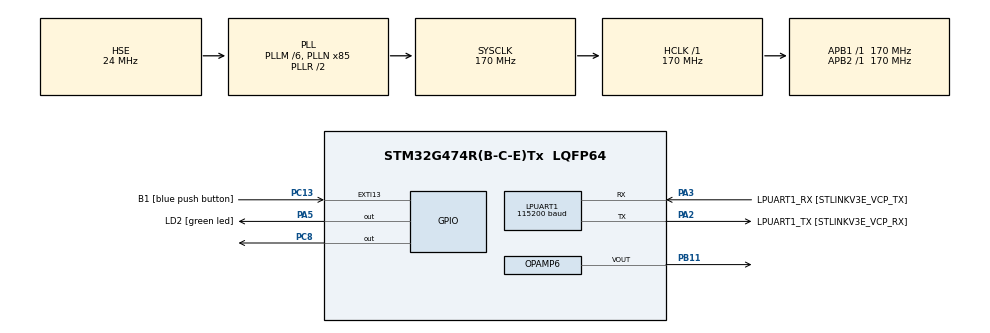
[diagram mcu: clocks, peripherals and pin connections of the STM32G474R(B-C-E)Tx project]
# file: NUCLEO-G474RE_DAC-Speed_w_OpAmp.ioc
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DAC3.DAC_HighFrequency_OUT1-DAC_OUT1_Int=DAC_HIGH_FREQUENCY_INTERFACE_MODE_ABOVE_160MHZ
DAC3.DAC_Trigger_OUT1-DAC_OUT1_Int=DAC_TRIGGER_SOFTWARE
LPUART1.BaudRate=115200
LPUART1.WordLength=UART_WORDLENGTH_8B
Mcu.Family=STM32G4
Mcu.Name=STM32G474R(B-C-E)Tx
Mcu.Package=LQFP64
NVIC.EXTI15_10_IRQn=true\:0\:0\:false\:false\:true\:true\:true
NVIC.PriorityGroup=NVIC_PRIORITYGROUP_4
OPAMP6.PowerMode=OPAMP_POWERMODE_HIGHSPEED
PA13.GPIO_Label=T_SWDIO
PA13.Mode=Trace_Asynchronous_SW
PA13.Signal=SYS_JTMS-SWDIO
PA14.GPIO_Label=T_SWCLK
PA14.Mode=Trace_Asynchronous_SW
PA14.Signal=SYS_JTCK-SWCLK
PA2.GPIO_Label=LPUART1_TX [STLINKV3E_VCP_RX]
PA2.Mode=Asynchronous
PA2.Signal=LPUART1_TX
PA3.GPIO_Label=LPUART1_RX [STLINKV3E_VCP_TX]
PA3.Mode=Asynchronous
PA3.Signal=LPUART1_RX
PA5.GPIO_Label=LD2 [green led]
PA5.Signal=GPIO_Output
PB11.Mode=Follower-DAC_OUT2-INP
PB11.Signal=OPAMP6_VOUT
PB3.GPIO_Label=T_SWO
PB3.Mode=Trace_Asynchronous_SW
PB3.Signal=SYS_JTDO-SWO
PC13.GPIO_Label=B1 [blue push button]
PC13.Signal=GPXTI13
PC14-OSC32_IN.Mode=LSE-External-Oscillator
PC14-OSC32_IN.Signal=RCC_OSC32_IN
PC15-OSC32_OUT.Mode=LSE-External-Oscillator
PC15-OSC32_OUT.Signal=RCC_OSC32_OUT
PC8.Signal=GPIO_Output
PF0-OSC_IN.Mode=HSE-External-Oscillator
PF0-OSC_IN.Signal=RCC_OSC_IN
PF1-OSC_OUT.Mode=HSE-External-Oscillator
PF1-OSC_OUT.Signal=RCC_OSC_OUT
ProjectManager.HeapSize=0x200
ProjectManager.StackSize=0x400
ProjectManager.TargetToolchain=STM32CubeIDE
RCC.ADC12Freq_Value=170000000
RCC.ADC345Freq_Value=170000000
RCC.AHBFreq_Value=170000000
RCC.APB1Freq_Value=170000000
RCC.APB1TimFreq_Value=170000000
RCC.APB2Freq_Value=170000000
RCC.APB2TimFreq_Value=170000000
RCC.CortexFreq_Value=170000000
RCC.EXTERNAL_CLOCK_VALUE=12288000
RCC.HCLKFreq_Value=170000000
RCC.HSE_VALUE=24000000
RCC.HSI48_VALUE=48000000
RCC.HSI_VALUE=16000000
RCC.PLLM=RCC_PLLM_DIV6
RCC.PLLN=85
RCC.PLLSourceVirtual=RCC_PLLSOURCE_HSE
RCC.RTCClockSelection=RCC_RTCCLKSOURCE_LSE
RCC.SYSCLKFreq_VALUE=170000000
RCC.SYSCLKSource=RCC_SYSCLKSOURCE_PLLCLK
RCC.USBFreq_Value=170000000
RCC.VCOOutputFreq_Value=340000000
VP_DAC3_VS_DACI1.Mode=DAC_OUT1_Int
VP_SYS_VS_DBSignals.Mode=DisableDeadBatterySignals
board=NUCLEO-G474RE

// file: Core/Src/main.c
/* USER CODE BEGIN Header */
/**
  ******************************************************************************
  * @file           : main.c
  * @brief          : Main program body
  ******************************************************************************
  * @attention
  *
  * <h2><center>&copy; Copyright (c) 2021 STMicroelectronics.
  * All rights reserved.</center></h2>
  *
  * This software component is licensed by ST under BSD 3-Clause license,
  * the "License"; You may not use this file except in compliance with the
  * License. You may obtain a copy of the License at:
  *                        opensource.org/licenses/BSD-3-Clause
  *
  ******************************************************************************
  */
/* USER CODE END Header */
#include "main.h"

UART_HandleTypeDef hlpuart1;

void SystemClock_Config(void);
static void MX_GPIO_Init(void);
static void MX_LPUART1_UART_Init(void);
static void MX_DAC3_Init(void);
static void MX_OPAMP6_Init(void);
/* USER CODE BEGIN PFP */

void LL_Activate_OPAMP6(void);
void LL_Activate_DAC3(void);

/* USER CODE END PFP */

int main(void)
{

  /* MCU Configuration--------------------------------------------------------*/

  /* Reset of all peripherals, Initializes the Flash interface and the Systick. */
  HAL_Init();

  /* Configure the system clock */
  SystemClock_Config();

  /* Initialize all configured peripherals */
  MX_GPIO_Init();
  MX_LPUART1_UART_Init();
  MX_DAC3_Init();
  MX_OPAMP6_Init();
  /* USER CODE BEGIN 2 */

  LL_Activate_OPAMP6();
  LL_Activate_DAC3();

  LL_DAC_ConvertData12RightAligned(DAC3, LL_DAC_CHANNEL_1, 0);
  LL_DAC_TrigSWConversion(DAC3, LL_DAC_CHANNEL_1);

  HAL_Delay(1);

  HAL_GPIO_WritePin(GPIOC, GPIO_PIN_8, SET);

  LL_DAC_ConvertData12RightAligned(DAC3, LL_DAC_CHANNEL_1, 0xfff);
  LL_DAC_TrigSWConversion(DAC3, LL_DAC_CHANNEL_1);

  /* USER CODE END 2 */

  /* Infinite loop */
  /* USER CODE BEGIN WHILE */
  while (1)
  {
	  HAL_GPIO_TogglePin(GPIOA, GPIO_PIN_5);
	  HAL_Delay(200);

    /* USER CODE END WHILE */

  }
}

void SystemClock_Config(void)
{
  RCC_OscInitTypeDef RCC_OscInitStruct = {0};
  RCC_ClkInitTypeDef RCC_ClkInitStruct = {0};
  RCC_PeriphCLKInitTypeDef PeriphClkInit = {0};

  /** Configure the main internal regulator output voltage
  */
  HAL_PWREx_ControlVoltageScaling(PWR_REGULATOR_VOLTAGE_SCALE1_BOOST);
  /** Initializes the RCC Oscillators according to the specified parameters
  * in the RCC_OscInitTypeDef structure.
  */
  RCC_OscInitStruct.OscillatorType = RCC_OSCILLATORTYPE_HSE;
  RCC_OscInitStruct.HSEState = RCC_HSE_ON;
  RCC_OscInitStruct.PLL.PLLState = RCC_PLL_ON;
  RCC_OscInitStruct.PLL.PLLSource = RCC_PLLSOURCE_HSE;
  RCC_OscInitStruct.PLL.PLLM = RCC_PLLM_DIV6;
  RCC_OscInitStruct.PLL.PLLN = 85;
  RCC_OscInitStruct.PLL.PLLP = RCC_PLLP_DIV2;
  RCC_OscInitStruct.PLL.PLLQ = RCC_PLLQ_DIV2;
  RCC_OscInitStruct.PLL.PLLR = RCC_PLLR_DIV2;
  if (HAL_RCC_OscConfig(&RCC_OscInitStruct) != HAL_OK)
  {
    Error_Handler();
  }
  /** Initializes the CPU, AHB and APB buses clocks
  */
  RCC_ClkInitStruct.ClockType = RCC_CLOCKTYPE_HCLK|RCC_CLOCKTYPE_SYSCLK
                              |RCC_CLOCKTYPE_PCLK1|RCC_CLOCKTYPE_PCLK2;
  RCC_ClkInitStruct.SYSCLKSource = RCC_SYSCLKSOURCE_PLLCLK;
  RCC_ClkInitStruct.AHBCLKDivider = RCC_SYSCLK_DIV1;
  RCC_ClkInitStruct.APB1CLKDivider = RCC_HCLK_DIV1;
  RCC_ClkInitStruct.APB2CLKDivider = RCC_HCLK_DIV1;

  if (HAL_RCC_ClockConfig(&RCC_ClkInitStruct, FLASH_LATENCY_4) != HAL_OK)
  {
    Error_Handler();
  }
  /** Initializes the peripherals clocks
  */
  PeriphClkInit.PeriphClockSelection = RCC_PERIPHCLK_LPUART1;
  PeriphClkInit.Lpuart1ClockSelection = RCC_LPUART1CLKSOURCE_PCLK1;
  if (HAL_RCCEx_PeriphCLKConfig(&PeriphClkInit) != HAL_OK)
  {
    Error_Handler();
  }
}

static void MX_DAC3_Init(void)
{

  LL_DAC_InitTypeDef DAC_InitStruct = {0};

  /* Peripheral clock enable */
  LL_AHB2_GRP1_EnableClock(LL_AHB2_GRP1_PERIPH_DAC3);

  /** DAC channel OUT1 config
  */
  LL_DAC_SetHighFrequencyMode(DAC3, LL_DAC_HIGH_FREQ_MODE_ABOVE_160MHZ);
  LL_DAC_SetSignedFormat(DAC3, LL_DAC_CHANNEL_1, LL_DAC_SIGNED_FORMAT_DISABLE);
  DAC_InitStruct.TriggerSource = LL_DAC_TRIG_SOFTWARE;
  DAC_InitStruct.TriggerSource2 = LL_DAC_TRIG_SOFTWARE;
  DAC_InitStruct.WaveAutoGeneration = LL_DAC_WAVE_AUTO_GENERATION_NONE;
  DAC_InitStruct.OutputBuffer = LL_DAC_OUTPUT_BUFFER_DISABLE;
  DAC_InitStruct.OutputConnection = LL_DAC_OUTPUT_CONNECT_INTERNAL;
  DAC_InitStruct.OutputMode = LL_DAC_OUTPUT_MODE_NORMAL;
  LL_DAC_Init(DAC3, LL_DAC_CHANNEL_1, &DAC_InitStruct);
  LL_DAC_EnableTrigger(DAC3, LL_DAC_CHANNEL_1);
  LL_DAC_DisableDMADoubleDataMode(DAC3, LL_DAC_CHANNEL_1);

}

static void MX_LPUART1_UART_Init(void)
{

  hlpuart1.Instance = LPUART1;
  hlpuart1.Init.BaudRate = 115200;
  hlpuart1.Init.WordLength = UART_WORDLENGTH_8B;
  hlpuart1.Init.StopBits = UART_STOPBITS_1;
  hlpuart1.Init.Parity = UART_PARITY_NONE;
  hlpuart1.Init.Mode = UART_MODE_TX_RX;
  hlpuart1.Init.HwFlowCtl = UART_HWCONTROL_NONE;
  hlpuart1.Init.OneBitSampling = UART_ONE_BIT_SAMPLE_DISABLE;
  hlpuart1.Init.ClockPrescaler = UART_PRESCALER_DIV1;
  hlpuart1.AdvancedInit.AdvFeatureInit = UART_ADVFEATURE_NO_INIT;
  if (HAL_UART_Init(&hlpuart1) != HAL_OK)
  {
    Error_Handler();
  }
  if (HAL_UARTEx_SetTxFifoThreshold(&hlpuart1, UART_TXFIFO_THRESHOLD_1_8) != HAL_OK)
  {
    Error_Handler();
  }
  if (HAL_UARTEx_SetRxFifoThreshold(&hlpuart1, UART_RXFIFO_THRESHOLD_1_8) != HAL_OK)
  {
    Error_Handler();
  }
  if (HAL_UARTEx_DisableFifoMode(&hlpuart1) != HAL_OK)
  {
    Error_Handler();
  }

}

static void MX_OPAMP6_Init(void)
{

  LL_OPAMP_InitTypeDef OPAMP_InitStruct = {0};

  LL_GPIO_InitTypeDef GPIO_InitStruct = {0};

  LL_AHB2_GRP1_EnableClock(LL_AHB2_GRP1_PERIPH_GPIOB);
  /**OPAMP6 GPIO Configuration
  PB11   ------> OPAMP6_VOUT
  */
  GPIO_InitStruct.Pin = LL_GPIO_PIN_11;
  GPIO_InitStruct.Mode = LL_GPIO_MODE_ANALOG;
  GPIO_InitStruct.Pull = LL_GPIO_PULL_NO;
  LL_GPIO_Init(GPIOB, &GPIO_InitStruct);

  OPAMP_InitStruct.PowerMode = LL_OPAMP_POWERMODE_HIGHSPEED;
  OPAMP_InitStruct.FunctionalMode = LL_OPAMP_MODE_FOLLOWER;
  OPAMP_InitStruct.InputNonInverting = LL_OPAMP_INPUT_NONINVERT_DAC;
  LL_OPAMP_Init(OPAMP6, &OPAMP_InitStruct);
  LL_OPAMP_SetInputsMuxMode(OPAMP6, LL_OPAMP_INPUT_MUX_DISABLE);
  LL_OPAMP_SetInternalOutput(OPAMP6, LL_OPAMP_INTERNAL_OUPUT_DISABLED);
  LL_OPAMP_SetTrimmingMode(OPAMP6, LL_OPAMP_TRIMMING_FACTORY);

}

static void MX_GPIO_Init(void)
{
  GPIO_InitTypeDef GPIO_InitStruct = {0};

  /* GPIO Ports Clock Enable */
  __HAL_RCC_GPIOC_CLK_ENABLE();
  __HAL_RCC_GPIOF_CLK_ENABLE();
  __HAL_RCC_GPIOA_CLK_ENABLE();
  __HAL_RCC_GPIOB_CLK_ENABLE();

  /*Configure GPIO pin Output Level */
  HAL_GPIO_WritePin(LD2_GPIO_Port, LD2_Pin, GPIO_PIN_RESET);

  /*Configure GPIO pin Output Level */
  HAL_GPIO_WritePin(GPIOC, GPIO_PIN_8, GPIO_PIN_RESET);

  /*Configure GPIO pin : B1_Pin */
  GPIO_InitStruct.Pin = B1_Pin;
  GPIO_InitStruct.Mode = GPIO_MODE_IT_RISING;
  GPIO_InitStruct.Pull = GPIO_NOPULL;
  HAL_GPIO_Init(B1_GPIO_Port, &GPIO_InitStruct);

  /*Configure GPIO pin : LD2_Pin */
  GPIO_InitStruct.Pin = LD2_Pin;
  GPIO_InitStruct.Mode = GPIO_MODE_OUTPUT_PP;
  GPIO_InitStruct.Pull = GPIO_NOPULL;
  GPIO_InitStruct.Speed = GPIO_SPEED_FREQ_LOW;
  HAL_GPIO_Init(LD2_GPIO_Port, &GPIO_InitStruct);

  /*Configure GPIO pin : PC8 */
  GPIO_InitStruct.Pin = GPIO_PIN_8;
  GPIO_InitStruct.Mode = GPIO_MODE_OUTPUT_PP;
  GPIO_InitStruct.Pull = GPIO_NOPULL;
  GPIO_InitStruct.Speed = GPIO_SPEED_FREQ_LOW;
  HAL_GPIO_Init(GPIOC, &GPIO_InitStruct);

  /* EXTI interrupt init*/
  HAL_NVIC_SetPriority(EXTI15_10_IRQn, 0, 0);
  HAL_NVIC_EnableIRQ(EXTI15_10_IRQn);

}

/* USER CODE BEGIN 4 */

void LL_Activate_OPAMP6(void)
{
  __IO uint32_t wait_loop_index = 0;

  /* Enable OPAMP */
  LL_OPAMP_Enable(OPAMP6);

  /* Delay for OPAMP startup time.                                            */
  /* Compute number of CPU cycles to wait for, from delay in us.              */
  /* Note: Variable divided by 2 to compensate partially                      */
  /*       CPU processing cycles (depends on compilation optimization).       */
  /* Note: If system core clock frequency is below 200kHz, wait time          */
  /*       is only a few CPU processing cycles.                               */
  wait_loop_index = ((LL_OPAMP_DELAY_STARTUP_US * (SystemCoreClock / (100000 * 2))) / 10);
  while(wait_loop_index != 0)
  {
    wait_loop_index--;
  }

}

void LL_Activate_DAC3(void)
{
  __IO uint32_t wait_loop_index = 0;

  /* Enable DAC channel */
  LL_DAC_Enable(DAC3, LL_DAC_CHANNEL_1);

  /* Delay for DAC channel voltage settling time from DAC channel startup.    */
  /* Compute number of CPU cycles to wait for, from delay in us.              */
  /* Note: Variable divided by 2 to compensate partially                      */
  /*       CPU processing cycles (depends on compilation optimization).       */
  /* Note: If system core clock frequency is below 200kHz, wait time          */
  /*       is only a few CPU processing cycles.                               */
  wait_loop_index = ((LL_DAC_DELAY_STARTUP_VOLTAGE_SETTLING_US * (SystemCoreClock / (100000 * 2))) / 10);
  while(wait_loop_index != 0)
  {
    wait_loop_index--;
  }

  /* Enable DAC channel trigger */
  /* Note: DAC channel conversion can start from trigger enable:              */
  /*       - if DAC channel trigger source is set to SW:                      */
  /*         DAC channel conversion will start after trig order               */
  /*         using function "LL_DAC_TrigSWConversion()".                      */
  /*       - if DAC channel trigger source is set to external trigger         */
  /*         (timer, ...):                                                    */
  /*         DAC channel conversion can start immediately                     */
  /*         (after next trig order from external trigger)                    */
  LL_DAC_EnableTrigger(DAC3, LL_DAC_CHANNEL_1);
}

/* USER CODE END 4 */

void Error_Handler(void)
{
  __disable_irq();
  while (1)
  {
  }
}

/************************ (C) COPYRIGHT STMicroelectronics *****END OF FILE****/
